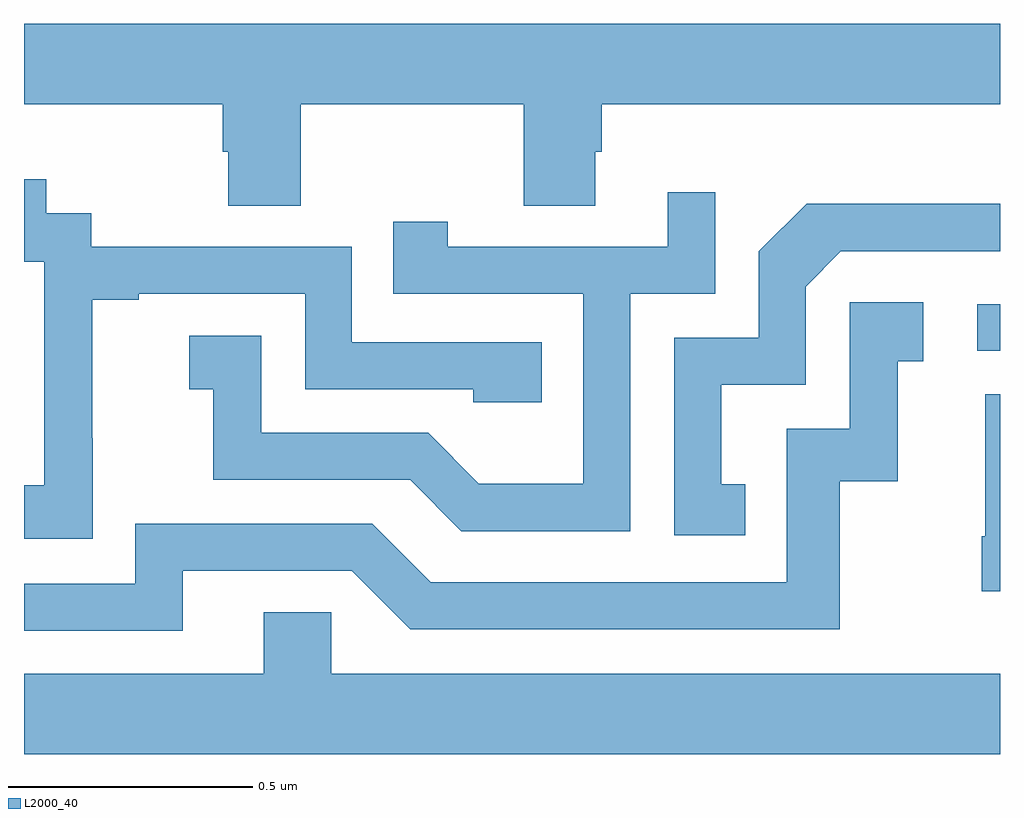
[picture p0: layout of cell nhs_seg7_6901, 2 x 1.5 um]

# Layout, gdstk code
import gdstk
lib = gdstk.Library(unit=1e-6, precision=1e-09)
def R(c, l, rs):  # rectangles x0, y0, x1, y1
    for r in rs: c.add(gdstk.rectangle(r[:2], r[2:], *l))
def P(c, l, *ps):  # polygons
    for p in ps: c.add(gdstk.Polygon(p, *l))
L2000_40 = (2000, 40)

nhs_seg7_6901 = lib.new_cell('nhs_seg7_6901')
R(nhs_seg7_6901, L2000_40, [(205.953,1052.058,206,1052.154)])
P(nhs_seg7_6901, L2000_40, [(204.567,1052.564),(205.024,1052.564),(205.024,1052.356),(205.171,1052.356),(205.171,1052.466),(205.184,1052.466),(205.184,1052.564),(206,1052.564),(206,1052.728),(204,1052.728),(204,1052.564),(204.407,1052.564),(204.407,1052.466),(204.419,1052.466),(204.419,1052.356),(204.567,1052.356)],
  [(204.141,1051.879),(204.14,1051.879),(204.14,1052.163),(204.235,1052.163),(204.235,1052.175),(204.576,1052.175),(204.576,1051.98),(204.921,1051.98),(204.921,1051.953),(205.061,1051.953),(205.061,1052.076),(204.672,1052.076),(204.672,1052.271),(204.138,1052.271),(204.138,1052.34),(204.046,1052.34),(204.046,1052.41),(204,1052.41),(204,1052.241),(204.042,1052.241),(204.042,1052.012),(204.041,1052.012),(204.041,1051.783),(204,1051.783),(204,1051.673),(204.141,1051.673)],
  [(205.242,1052.175),(205.416,1052.175),(205.416,1052.383),(205.319,1052.383),(205.319,1052.271),(204.868,1052.271),(204.868,1052.323),(204.757,1052.323),(204.757,1052.175),(205.146,1052.175),(205.146,1051.786),(204.932,1051.786),(204.828,1051.89),(204.486,1051.89),(204.486,1052.089),(204.339,1052.089),(204.339,1051.979),(204.388,1051.979),(204.388,1051.794),(204.791,1051.794),(204.896,1051.689),(205.242,1051.689)],
  [(205.478,1051.785),(205.429,1051.785),(205.429,1051.989),(205.602,1051.989),(205.602,1052.19),(205.674,1052.262),(206,1052.262),(206,1052.36),(205.604,1052.36),(205.506,1052.262),(205.506,1052.085),(205.332,1052.085),(205.332,1051.68),(205.478,1051.68)],
  [(204.325,1051.608),(204.672,1051.608),(204.792,1051.488),(205.672,1051.488),(205.672,1051.791),(205.79,1051.791),(205.79,1052.037),(205.843,1052.037),(205.843,1052.158),(205.692,1052.158),(205.692,1051.899),(205.563,1051.899),(205.563,1051.584),(204.834,1051.584),(204.714,1051.704),(204.228,1051.704),(204.228,1051.581),(204,1051.581),(204,1051.485),(204.325,1051.485)],
  [(206,1051.969),(205.97,1051.969),(205.97,1051.678),(205.963,1051.678),(205.963,1051.566),(206,1051.566)],
  [(206,1051.396),(204.63,1051.396),(204.63,1051.523),(204.491,1051.523),(204.491,1051.396),(204,1051.396),(204,1051.232),(206,1051.232)])

lib.write_gds('nhs_seg7_6901.gds')
